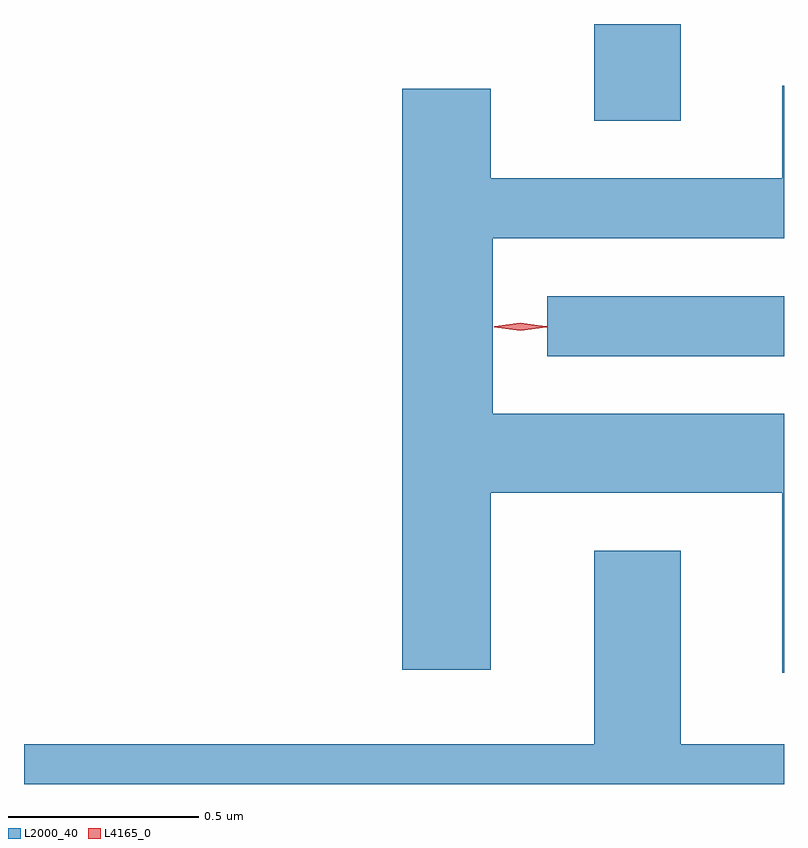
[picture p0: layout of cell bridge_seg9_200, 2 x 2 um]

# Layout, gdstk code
import gdstk
lib = gdstk.Library(unit=1e-6, precision=1e-09)
def R(c, l, rs):  # rectangles x0, y0, x1, y1
    for r in rs: c.add(gdstk.rectangle(r[:2], r[2:], *l))
def P(c, l, *ps):  # polygons
    for p in ps: c.add(gdstk.Polygon(p, *l))
L2000_40 = (2000, 40)
L4165_0 = (4165, 0)

bridge_seg9_200 = lib.new_cell('bridge_seg9_200')
R(bridge_seg9_200, L2000_40, [(1225.038,2013.086,1225.661,2013.244), (1225.161,2013.706,1225.389,2013.96)])
P(bridge_seg9_200, L2000_40, [(1225.661,2012.934),(1224.894,2012.934),(1224.894,2013.396),(1225.661,2013.396),(1225.661,2013.798),(1225.656,2013.798),(1225.656,2013.554),(1224.889,2013.554),(1224.889,2013.789),(1224.656,2013.789),(1224.656,2012.261),(1224.889,2012.261),(1224.889,2012.726),(1225.656,2012.726),(1225.656,2012.253),(1225.661,2012.253)],
  [(1225.161,2012.574),(1225.161,2012.064),(1223.661,2012.064),(1223.661,2011.96),(1225.661,2011.96),(1225.661,2012.064),(1225.389,2012.064),(1225.389,2012.574)])
P(bridge_seg9_200, L4165_0, [(1224.967,2013.153),(1224.898,2013.162),(1224.898,2013.163),(1224.898,2013.164),(1224.967,2013.173),(1225.036,2013.164),(1225.036,2013.163),(1225.036,2013.162)],
  [(1224.967,2013.154),(1224.901,2013.164),(1224.9,2013.164),(1224.901,2013.165),(1224.967,2013.174),(1225.032,2013.165),(1225.033,2013.164),(1225.032,2013.164)])

lib.write_gds('bridge_seg9_200.gds')
